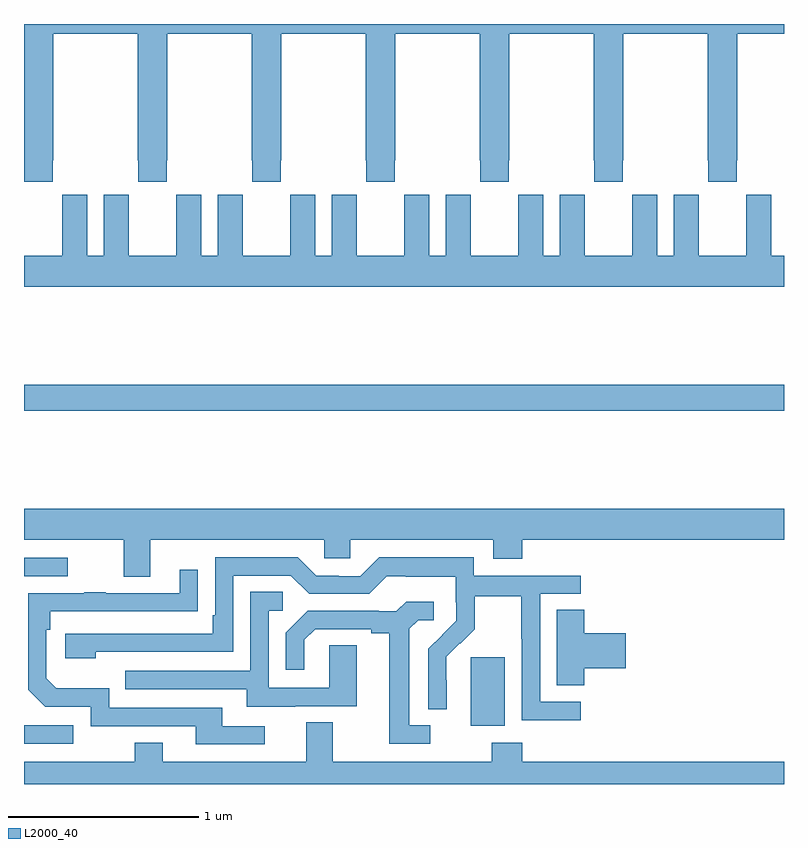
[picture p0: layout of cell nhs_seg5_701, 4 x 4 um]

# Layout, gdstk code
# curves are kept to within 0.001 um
import gdstk
lib = gdstk.Library(unit=1e-6, precision=1e-09)
def R(c, l, rs):  # rectangles x0, y0, x1, y1
    for r in rs: c.add(gdstk.rectangle(r[:2], r[2:], *l))
def P(c, l, *ps):  # polygons
    for p in ps: c.add(gdstk.Polygon(p, *l))
L2000_40 = (2000, 40)

nhs_seg5_701 = lib.new_cell('nhs_seg5_701')
R(nhs_seg5_701, L2000_40, [(155,865.011,155.26,865.107), (157.352,865.106,157.531,865.467), (155,865.893,155.23,865.989), (155,866.764,159,866.9)])
P(nhs_seg5_701, L2000_40, [(156.799,868.081),(156.801,868.081),(156.801,867.969),(156.951,867.969),(156.951,868.081),(156.954,868.081),(156.954,868.748),(157.399,868.748),(157.399,868.081),(157.401,868.081),(157.401,867.969),(157.551,867.969),(157.551,868.081),(157.554,868.081),(157.554,868.748),(157.999,868.748),(157.999,868.081),(158.001,868.081),(158.001,867.969),(158.151,867.969),(158.151,868.081),(158.154,868.081),(158.154,868.748),(158.599,868.748),(158.599,868.081),(158.601,868.081),(158.601,867.969),(158.751,867.969),(158.751,868.081),(158.754,868.081),(158.754,868.748),(159,868.748),(159,868.799),(155,868.799),(155,868.081),(155.001,868.081),(155.001,867.969),(155.151,867.969),(155.151,868.081),(155.154,868.081),(155.154,868.748),(155.599,868.748),(155.599,868.081),(155.601,868.081),(155.601,867.969),(155.751,867.969),(155.751,868.081),(155.754,868.081),(155.754,868.748),(156.199,868.748),(156.199,868.081),(156.201,868.081),(156.201,867.969),(156.351,867.969),(156.351,868.081),(156.354,868.081),(156.354,868.748),(156.799,868.748)],
  [(159,867.58),(158.932,867.58),(158.932,867.901),(158.802,867.901),(158.802,867.788),(158.801,867.788),(158.801,867.58),(158.551,867.58),(158.551,867.788),(158.55,867.788),(158.55,867.901),(158.42,867.901),(158.42,867.58),(158.332,867.58),(158.332,867.901),(158.202,867.901),(158.202,867.788),(158.201,867.788),(158.201,867.58),(157.951,867.58),(157.951,867.788),(157.95,867.788),(157.95,867.901),(157.82,867.901),(157.82,867.58),(157.732,867.58),(157.732,867.901),(157.602,867.901),(157.602,867.788),(157.601,867.788),(157.601,867.58),(157.351,867.58),(157.351,867.788),(157.35,867.788),(157.35,867.901),(157.22,867.901),(157.22,867.58),(157.132,867.58),(157.132,867.901),(157.002,867.901),(157.002,867.788),(157.001,867.788),(157.001,867.58),(156.751,867.58),(156.751,867.788),(156.75,867.788),(156.75,867.901),(156.62,867.901),(156.62,867.58),(156.532,867.58),(156.532,867.901),(156.402,867.901),(156.402,867.788),(156.401,867.788),(156.401,867.58),(156.151,867.58),(156.151,867.788),(156.15,867.788),(156.15,867.901),(156.02,867.901),(156.02,867.58),(155.932,867.58),(155.932,867.901),(155.802,867.901),(155.802,867.788),(155.801,867.788),(155.801,867.58),(155.551,867.58),(155.551,867.788),(155.55,867.788),(155.55,867.901),(155.42,867.901),(155.42,867.58),(155.332,867.58),(155.332,867.901),(155.202,867.901),(155.202,867.788),(155.201,867.788),(155.201,867.58),(155,867.58),(155,867.416),(159,867.416)],
  [(155.665,866.084),(156.579,866.084),(156.579,865.986),(156.717,865.986),(156.717,866.084),(157.469,866.084),(157.469,865.985),(157.622,865.985),(157.622,866.084),(159,866.084),(159,866.248),(155,866.248),(155,866.084),(155.525,866.084),(155.525,865.89),(155.665,865.89)],
  [(157.93,865.233),(157.716,865.233),(157.716,865.8),(157.93,865.8),(157.93,865.896),(157.368,865.896),(157.368,865.993),(156.871,865.993),(156.771,865.893),(156.656,865.893),(156.656,865.896),(156.537,865.896),(156.441,865.992),(156.006,865.992),(156.006,865.687),(155.993,865.687),(155.993,865.59),(155.217,865.59),(155.217,865.46),(155.378,865.46),(155.378,865.494),(156.102,865.494),(156.102,865.896),(156.405,865.896),(156.501,865.8),(156.816,865.8),(156.909,865.893),(157.009,865.893),(157.009,865.889),(157.272,865.889),(157.272,865.755),(157.274,865.755),(157.274,865.658),(157.128,865.51),(157.128,865.192),(157.224,865.192),(157.223,865.469),(157.293,865.539),(157.296,865.536),(157.373,865.613),(157.373,865.788),(157.618,865.788),(157.618,865.564),(157.62,865.564),(157.62,865.135),(157.93,865.135)],
  [(156.268,865.104),(156.043,865.104),(156.043,865.2),(155.448,865.2),(155.448,865.303),(155.171,865.303),(155.118,865.356),(155.118,865.61),(155.138,865.61),(155.138,865.707),(155.915,865.708),(155.915,865.927),(155.819,865.927),(155.819,865.803),(155.429,865.803),(155.429,865.808),(155.317,865.808),(155.317,865.803),(155.022,865.803),(155.022,865.296),(155.112,865.206),(155.352,865.206),(155.352,865.104),(155.903,865.104),(155.903,865.008),(156.268,865.008)],
  [(156.427,865.209),(156.751,865.209),(156.751,865.529),(156.606,865.529),(156.606,865.305),(156.288,865.305),(156.288,865.71),(156.361,865.71),(156.361,865.811),(156.192,865.811),(156.192,865.395),(155.533,865.395),(155.533,865.299),(156.173,865.299),(156.173,865.205),(156.427,865.205)],
  [(157.138,865.107),(157.027,865.107),(157.027,865.615),(157.074,865.662),(157.156,865.662),(157.156,865.759),(157.012,865.759),(156.96,865.707),(156.866,865.707),(156.866,865.71),(156.494,865.71),(156.378,865.594),(156.378,865.401),(156.475,865.401),(156.475,865.557),(156.532,865.614),(156.827,865.614),(156.827,865.592),(156.923,865.592),(156.923,865.011),(157.138,865.011)],
  [(157.949,865.409),(158.167,865.409),(158.167,865.592),(157.949,865.592),(157.949,865.715),(157.805,865.715),(157.805,865.318),(157.949,865.318)],
  [(159,864.916),(157.622,864.916),(157.622,865.015),(157.462,865.015),(157.462,864.916),(156.625,864.916),(156.625,865.124),(156.485,865.124),(156.485,864.916),(155.731,864.916),(155.731,865.015),(155.584,865.015),(155.584,864.916),(155,864.916),(155,864.799),(159,864.799)])

lib.write_gds('nhs_seg5_701.gds')
